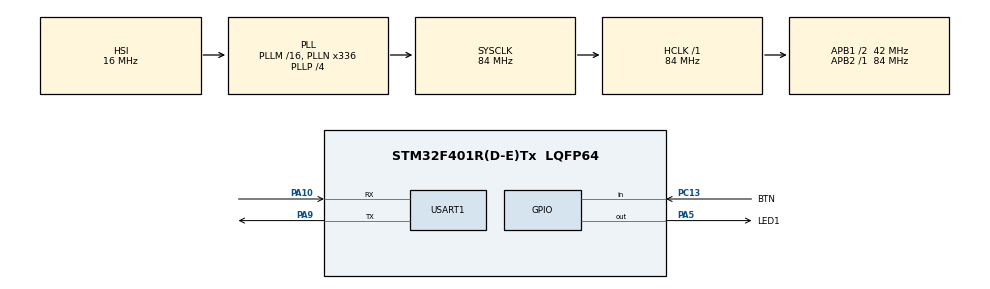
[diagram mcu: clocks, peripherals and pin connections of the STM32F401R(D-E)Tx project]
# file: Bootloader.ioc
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Mcu.Family=STM32F4
Mcu.Name=STM32F401R(D-E)Tx
Mcu.Package=LQFP64
NVIC.PriorityGroup=NVIC_PRIORITYGROUP_0
NVIC.USART1_IRQn=true\:0\:0\:false\:false\:true\:true\:true
PA10.Mode=Asynchronous
PA10.Signal=USART1_RX
PA5.GPIO_Label=LED1
PA5.Signal=GPIO_Output
PA9.Mode=Asynchronous
PA9.Signal=USART1_TX
PC13-ANTI_TAMP.GPIO_Label=BTN
PC13-ANTI_TAMP.Signal=GPIO_Input
PC14-OSC32_IN.Mode=LSE-External-Oscillator
PC14-OSC32_IN.Signal=RCC_OSC32_IN
PC15-OSC32_OUT.Mode=LSE-External-Oscillator
PC15-OSC32_OUT.Signal=RCC_OSC32_OUT
PH0\ -\ OSC_IN.Mode=HSE-External-Clock-Source
PH0\ -\ OSC_IN.Signal=RCC_OSC_IN
PH1\ -\ OSC_OUT.Mode=HSE-External-Clock-Source
PH1\ -\ OSC_OUT.Signal=RCC_OSC_OUT
ProjectManager.HeapSize=0x200
ProjectManager.StackSize=0x400
ProjectManager.TargetToolchain=Makefile
RCC.48MHZClocksFreq_Value=84000000
RCC.AHBFreq_Value=84000000
RCC.APB1CLKDivider=RCC_HCLK_DIV2
RCC.APB1Freq_Value=42000000
RCC.APB1TimFreq_Value=84000000
RCC.APB2Freq_Value=84000000
RCC.APB2TimFreq_Value=84000000
RCC.CortexFreq_Value=84000000
RCC.HCLKFreq_Value=84000000
RCC.HSE_VALUE=25000000
RCC.HSI_VALUE=16000000
RCC.PLLN=336
RCC.PLLP=RCC_PLLP_DIV4
RCC.SYSCLKFreq_VALUE=84000000
RCC.SYSCLKSource=RCC_SYSCLKSOURCE_PLLCLK
RCC.VCOOutputFreq_Value=336000000
USART1.VirtualMode=VM_ASYNC
VP_MBEDTLS_VS_MBEDTLS.Mode=Enabled
board=custom

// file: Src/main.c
/* USER CODE BEGIN Header */
/**
  ******************************************************************************
  * @file           : main.c
  * @brief          : Main program body
  ******************************************************************************
  * @attention
  *
  * <h2><center>&copy; Copyright (c) 2019 STMicroelectronics.
  * All rights reserved.</center></h2>
  *
  * This software component is licensed by ST under Ultimate Liberty license
  * SLA0044, the "License"; You may not use this file except in compliance with
  * the License. You may obtain a copy of the License at:
  *                             www.st.com/SLA0044
  *
  ******************************************************************************
  */
/* USER CODE END Header */

#include "main.h"
#include "mbedtls.h"

/* USER CODE BEGIN Includes */

#include <stdbool.h>
#include <stdio.h>
#include "uart.h"
#include "xmodem.h"
#include "crypto.h"

/* USER CODE END Includes */

UART_HandleTypeDef huart1;

/* USER CODE BEGIN PV */

void *_sbrk(int n)
{
  return (void *) -1;
}

int _write (int fd, const void *buf, int count)
{
	if (fd == 1)
	{
    HAL_UART_Transmit (&huart1, (unsigned char *) buf, count, count * 50);
    return count;
	}
	return -1;
}

int _close (int fd)
{
	return 0;
}

int _fstat (int fd, void *buf)
{
	return 0;
}

int _isatty (int fd)
{
	return 0;
}

int _lseek (int fd, int offset, int whence)
{
	return 0;
}

int _read (int fd, void *buf, int count)
{
	return 0;
}

static bool received = false;

void HAL_UART_RxCpltCallback(UART_HandleTypeDef *huart)
{
    received = true;
}

/* USER CODE END PV */

void SystemClock_Config(void);
static void MX_GPIO_Init(void);
static void MX_USART1_UART_Init(void);

int main(void)
{

  /* MCU Configuration--------------------------------------------------------*/

  /* Reset of all peripherals, Initializes the Flash interface and the Systick. */
  HAL_Init();

  /* Configure the system clock */
  SystemClock_Config();

  /* Initialize all configured peripherals */
  MX_GPIO_Init();
  MX_USART1_UART_Init();
  MX_MBEDTLS_Init();
  /* USER CODE BEGIN 2 */

  if(HAL_GPIO_ReadPin(BTN_GPIO_Port, BTN_Pin))
  {
	  __IO app_t* app = (__IO app_t*) FLASH_APP2;
	  if (!check_app(app))
	  {
		  uart_tx_str((uint8_t*)"\n\rFailed verification... Please try again.\n\r");
	  }
	  flash_jump_to_app(app);
	  return 0;
  }
  //Button pressed enter flash
  /* USER CODE END 2 */

  /* Infinite loop */
  /* USER CODE BEGIN WHILE */
  while (1)
  {
	  __WFE ();
	  /* Turn on the green LED to indicate, that we are in bootloader mode.*/
	  /* Ask for new data and start the Xmodem protocol. */
	  uart_tx_str((uint8_t*)"Please send a new binary file with Xmodem protocol to update the firmware.\n\r");
	  //Download new program from host
	  if (!xmodem_receive()) {
		  uart_tx_str((uint8_t*)"\n\rFailed... Please try again.\n\r");
		  continue;
	  }
	  __IO app_t* app = (__IO app_t*) FLASH_APP2;
	  if (!check_app(app))
	  {
		  uart_tx_str((uint8_t*)"\n\rFailed verification... Please try again.\n\r");
		  continue;
	  }
	  flash_jump_to_app(app);

    /* USER CODE END WHILE */

  }
}

void SystemClock_Config(void)
{
  RCC_OscInitTypeDef RCC_OscInitStruct = {0};
  RCC_ClkInitTypeDef RCC_ClkInitStruct = {0};

  /** Configure the main internal regulator output voltage
  */
  __HAL_RCC_PWR_CLK_ENABLE();
  __HAL_PWR_VOLTAGESCALING_CONFIG(PWR_REGULATOR_VOLTAGE_SCALE2);
  /** Initializes the CPU, AHB and APB busses clocks
  */
  RCC_OscInitStruct.OscillatorType = RCC_OSCILLATORTYPE_HSI;
  RCC_OscInitStruct.HSIState = RCC_HSI_ON;
  RCC_OscInitStruct.HSICalibrationValue = RCC_HSICALIBRATION_DEFAULT;
  RCC_OscInitStruct.PLL.PLLState = RCC_PLL_ON;
  RCC_OscInitStruct.PLL.PLLSource = RCC_PLLSOURCE_HSI;
  RCC_OscInitStruct.PLL.PLLM = 16;
  RCC_OscInitStruct.PLL.PLLN = 336;
  RCC_OscInitStruct.PLL.PLLP = RCC_PLLP_DIV4;
  RCC_OscInitStruct.PLL.PLLQ = 4;
  if (HAL_RCC_OscConfig(&RCC_OscInitStruct) != HAL_OK)
  {
    Error_Handler();
  }
  /** Initializes the CPU, AHB and APB busses clocks
  */
  RCC_ClkInitStruct.ClockType = RCC_CLOCKTYPE_HCLK|RCC_CLOCKTYPE_SYSCLK
                              |RCC_CLOCKTYPE_PCLK1|RCC_CLOCKTYPE_PCLK2;
  RCC_ClkInitStruct.SYSCLKSource = RCC_SYSCLKSOURCE_PLLCLK;
  RCC_ClkInitStruct.AHBCLKDivider = RCC_SYSCLK_DIV1;
  RCC_ClkInitStruct.APB1CLKDivider = RCC_HCLK_DIV2;
  RCC_ClkInitStruct.APB2CLKDivider = RCC_HCLK_DIV1;

  if (HAL_RCC_ClockConfig(&RCC_ClkInitStruct, FLASH_LATENCY_2) != HAL_OK)
  {
    Error_Handler();
  }
}

static void MX_USART1_UART_Init(void)
{

  huart1.Instance = USART1;
  huart1.Init.BaudRate = 115200;
  huart1.Init.WordLength = UART_WORDLENGTH_8B;
  huart1.Init.StopBits = UART_STOPBITS_1;
  huart1.Init.Parity = UART_PARITY_NONE;
  huart1.Init.Mode = UART_MODE_TX_RX;
  huart1.Init.HwFlowCtl = UART_HWCONTROL_NONE;
  huart1.Init.OverSampling = UART_OVERSAMPLING_16;
  if (HAL_UART_Init(&huart1) != HAL_OK)
  {
    Error_Handler();
  }

}

static void MX_GPIO_Init(void)
{
  GPIO_InitTypeDef GPIO_InitStruct = {0};

  /* GPIO Ports Clock Enable */
  __HAL_RCC_GPIOC_CLK_ENABLE();
  __HAL_RCC_GPIOH_CLK_ENABLE();
  __HAL_RCC_GPIOA_CLK_ENABLE();

  /*Configure GPIO pin Output Level */
  HAL_GPIO_WritePin(LED1_GPIO_Port, LED1_Pin, GPIO_PIN_RESET);

  /*Configure GPIO pin : BTN_Pin */
  GPIO_InitStruct.Pin = BTN_Pin;
  GPIO_InitStruct.Mode = GPIO_MODE_INPUT;
  GPIO_InitStruct.Pull = GPIO_NOPULL;
  HAL_GPIO_Init(BTN_GPIO_Port, &GPIO_InitStruct);

  /*Configure GPIO pin : LED1_Pin */
  GPIO_InitStruct.Pin = LED1_Pin;
  GPIO_InitStruct.Mode = GPIO_MODE_OUTPUT_PP;
  GPIO_InitStruct.Pull = GPIO_NOPULL;
  GPIO_InitStruct.Speed = GPIO_SPEED_FREQ_LOW;
  HAL_GPIO_Init(LED1_GPIO_Port, &GPIO_InitStruct);

}

void Error_Handler(void)
{
}

/************************ (C) COPYRIGHT STMicroelectronics *****END OF FILE****/
